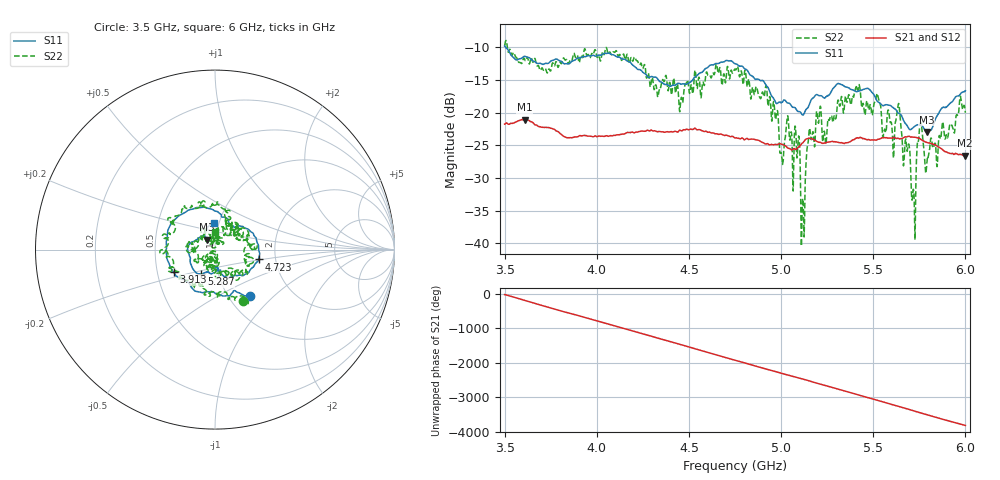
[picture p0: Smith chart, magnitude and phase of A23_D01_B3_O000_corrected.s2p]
! Created with skrf 1.9.0 (http://scikit-rf.org).
# Hz S RI R 50.0
!freq ReS11 ImS11 ReS21 ImS21 ReS12 ImS12 ReS22 ImS22
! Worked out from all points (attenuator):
!   1601 points, 3.5 GHz to 6 GHz, reference 50 ohm
!   highest |S21| = -21.06 dB at 3.609 GHz (marker M1); lowest = -26.6 dB at 5.998 GHz (marker M2)
!   lowest |S11| = -23.0 dB at 5.791 GHz (marker M3), VSWR 1.15, Z = 45.5 + j5.11 ohm
!   |S11| at or under -10 dB: 3.504 GHz to end of sweep
!   |S22| runs from -40.4 to -9.0 dB; largest |S21 - S12| = 0.0013
!   S11 on the Smith chart (normalised r, x): 3.5 GHz: 1.26, -0.72; 3.913 GHz: 0.61, -0.16; 4.723 GHz: 1.63, -0.19; 5.287 GHz: 0.83, -0.23; 6 GHz: 0.94, +0.28
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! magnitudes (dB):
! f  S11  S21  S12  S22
! 3.5 GHz  -9.8  -21.8  -21.8  -9.7
! 3.609 GHz  -11.4  -21.1  -21.1  -11.9
! 3.913 GHz  -11.6  -23.5  -23.5  -11.3
! 3.917 GHz  -11.6  -23.6  -23.6  -11.2
! 4.334 GHz  -15.0  -22.9  -22.9  -17.3
! 4.723 GHz  -12.1  -23.7  -23.6  -14.5
! 4.75 GHz  -12.5  -23.9  -23.8  -13.4
! 4.927 GHz  -16.1  -24.7  -24.8  -18.1
! 5.003 GHz  -18.5  -24.8  -24.9  -26.8
! 5.086 GHz  -19.7  -25.5  -25.5  -27.0
! 5.119 GHz  -20.4  -24.6  -24.5  -33.2
! 5.145 GHz  -19.3  -24.0  -24.0  -24.7
! 5.167 GHz  -17.9  -24.0  -24.0  -23.9
! 5.287 GHz  -16.1  -24.4  -24.5  -20.5
! 5.416 GHz  -16.8  -23.8  -23.9  -16.6
! 5.584 GHz  -18.9  -23.9  -23.9  -19.8
! 5.641 GHz  -20.2  -24.0  -24.0  -19.0
! 5.719 GHz  -22.2  -23.8  -23.7  -31.9
! 5.752 GHz  -21.9  -24.0  -23.9  -22.2
! 5.791 GHz  -23.0  -24.6  -24.5  -27.8
! 5.998 GHz  -16.7  -26.6  -26.6  -19.7
! 6 GHz  -16.7  -26.6  -26.6  -20.0
